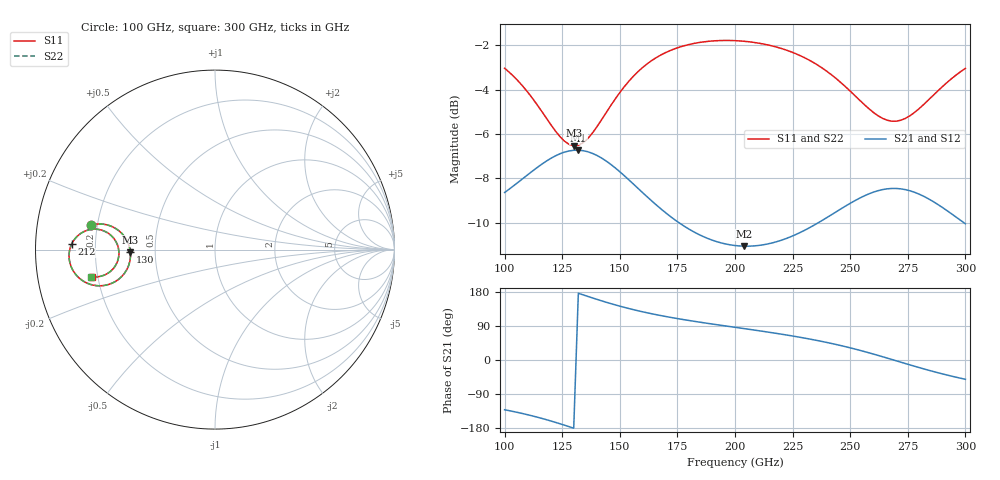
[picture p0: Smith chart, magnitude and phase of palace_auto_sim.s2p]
#  GHZ S DB R 50
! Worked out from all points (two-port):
!   101 points, 100 GHz to 300 GHz, reference 50 ohm
!   highest |S21| = -6.73 dB at 132 GHz (marker M1); lowest = -11.1 dB at 204 GHz (marker M2)
!   |S21| within 3 dB of the highest: start of sweep to 172.1 GHz; 240.4 GHz to 295.8 GHz (55.35 GHz wide, 20.6 % of centre)
!   lowest |S11| = -6.5 dB at 130 GHz (marker M3), VSWR 2.78, Z = 18 - j0.713 ohm
!   |S11| at or under -10 dB: nowhere
!   |S22| runs from -6.5 to -1.8 dB; largest |S21 - S12| = 5e-14
!   S11 on the Smith chart (normalised r, x): 100 GHz: 0.17, +0.09; 130 GHz: 0.36, -0.01; 212 GHz: 0.11, +0.02; 300 GHz: 0.18, -0.10
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100  -3.04 168.8  -8.64 -131.3  -8.64 -131.3  -3.04 168.8
108  -3.86 167.2  -8.00 -141.6  -8.00 -141.6  -3.86 167.2
116  -4.96 168.0  -7.37 -153.9  -7.37 -153.9  -4.96 168.0
124  -6.11 173.8  -6.89 -168.2  -6.89 -168.2  -6.11 173.8
130  -6.53 -178.1  -6.73 -179.9  -6.73 -179.9  -6.53 -178.1
132  -6.51 -175.1  -6.73 176.1  -6.73 176.1  -6.51 -175.1
134  -6.40 -172.3  -6.75 172.0  -6.75 172.0  -6.40 -172.3
142  -5.37 -164.0  -7.08 156.3  -7.08 156.3  -5.37 -164.0
150  -4.13 -161.9  -7.70 142.1  -7.70 142.1  -4.13 -161.8
158  -3.18 -163.2  -8.46 129.8  -8.46 129.8  -3.18 -163.2
168  -2.43 -166.6  -9.39 117.0  -9.39 117.0  -2.43 -166.6
184  -1.89 -172.7  -10.51 100.5  -10.51 100.5  -1.89 -172.6
200  -1.80 -178.2  -11.02 86.3  -11.02 86.3  -1.80 -178.2
204  -1.83 -179.5  -11.05 82.8  -11.05 82.8  -1.82 -179.5
212  -1.94 177.9  -10.99 75.7  -10.99 75.7  -1.94 177.9
234  -2.78 171.7  -10.12 53.5  -10.12 53.5  -2.78 171.7
244  -3.51 170.2  -9.50 40.8  -9.50 40.8  -3.51 170.2
252  -4.27 170.9  -9.01 29.0  -9.01 29.0  -4.26 170.9
268  -5.42 -179.2  -8.45 1.5  -8.45 1.5  -5.42 -179.2
276  -5.17 -172.3  -8.56 -13.0  -8.56 -13.0  -5.17 -172.3
284  -4.46 -168.1  -8.92 -27.0  -8.92 -27.0  -4.46 -168.1
300  -3.05 -167.7  -10.04 -50.9  -10.04 -50.9  -3.04 -167.7
